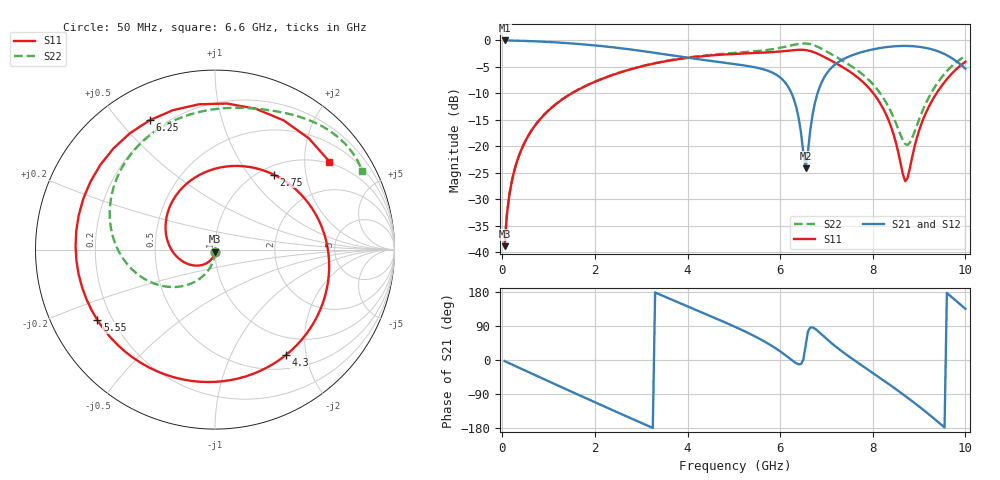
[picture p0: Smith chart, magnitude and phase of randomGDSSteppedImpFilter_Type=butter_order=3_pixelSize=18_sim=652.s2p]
! freq	dB(S11)	phase(S11)	dB(S12)	phase(S12)
!  dB(S21)	phase(S21)	dB(S22)	phase(S22)
!S-par simulation data
#  GHz  S  DB  R 50
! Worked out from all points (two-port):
!   200 points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, 50 MHz to 10 GHz, reference 50 ohm
!   highest |S21| = 0.00 dB at 50 MHz (marker M1); lowest = -24.1 dB at 6.55 GHz (marker M2)
!   |S21| within 3 dB of the highest: start of sweep to 3.807 GHz; 7.495 GHz to 9.643 GHz (2.147 GHz wide, 25.1 % of centre)
!   lowest |S11| = -38.8 dB at 50 MHz (marker M3), VSWR 1.02, Z = 49.9 - j1.14 ohm
!   |S11| at or under -10 dB: start of sweep to 1.498 GHz; 8.013 GHz to 9.376 GHz (1.363 GHz wide, 15.7 % of centre)
!   |S22| runs from -38.8 to -0.6 dB; largest |S21 - S12| = 0
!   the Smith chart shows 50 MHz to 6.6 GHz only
!   S11 on the Smith chart (normalised r, x): 50 MHz: 1.00, -0.02; 2.75 GHz: 1.15, +1.33; 4.3 GHz: 0.70, -1.65; 5.55 GHz: 0.14, -0.27; 6.25 GHz: 0.15, +0.61; 6.6 GHz: 0.95, +2.64
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0.05  -38.85 -93.7  -0.00 -2.9  -0.00 -2.9  -38.79 -91.4
0.2  -26.83 -106.1  -0.03 -11.3  -0.03 -11.3  -26.79 -96.8
0.5  -18.97 -130.4  -0.10 -28.2  -0.10 -28.2  -18.94 -106.9
1.75  -8.81 129.7  -0.74 -97.7  -0.74 -97.7  -8.78 -146.7
2.75  -5.50 51.9  -1.68 -152.4  -1.68 -152.4  -5.47 -178.2
3.4  -4.14 4.7  -2.48 172.9  -2.48 172.9  -4.09 160.0
4.3  -3.00 -56.3  -3.62 126.1  -3.62 126.1  -2.90 128.1
5.05  -2.53 -107.8  -4.50 86.2  -4.50 86.2  -2.32 100.6
5.55  -2.34 -149.1  -5.25 56.3  -5.25 56.3  -1.96 81.9
5.95  -2.12 165.8  -6.66 27.1  -6.66 27.1  -1.48 66.0
6.25  -1.86 116.8  -10.05 -0.1  -10.05 -0.1  -0.91 51.6
6.55  -1.82 49.8  -24.11 37.7  -24.11 37.7  -0.57 31.9
6.6  -1.89 37.5  -20.97 75.1  -20.97 75.1  -0.62 28.2
6.7  -2.13 13.1  -14.01 85.9  -14.01 85.9  -0.82 20.8
6.95  -3.11 -42.5  -6.99 61.6  -6.99 61.6  -1.83 4.3
7.15  -4.04 -78.7  -4.81 40.4  -4.81 40.4  -2.81 -6.5
7.65  -6.82 -147.9  -2.50 -4.8  -2.50 -4.8  -5.53 -30.1
8.35  -15.27 121.9  -1.20 -63.8  -1.20 -63.8  -12.72 -53.8
8.7  -26.58 11.1  -1.04 -94.8  -1.04 -94.8  -19.56 -22.5
9.35  -10.35 -167.6  -1.87 -157.3  -1.87 -157.3  -8.65 24.7
9.7  -6.33 136.8  -3.30 166.3  -3.30 166.3  -4.90 7.7
10  -4.02 93.3  -5.33 135.1  -5.33 135.1  -2.96 -10.5
